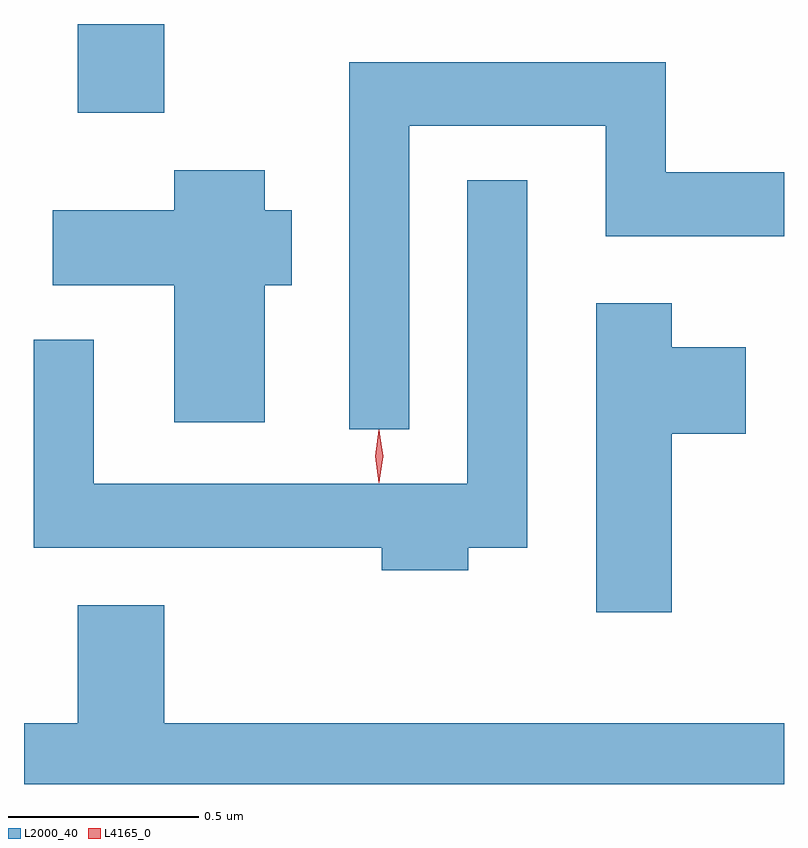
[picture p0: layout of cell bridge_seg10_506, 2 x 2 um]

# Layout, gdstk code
import gdstk
lib = gdstk.Library(unit=1e-6, precision=1e-09)
def R(c, l, rs):  # rectangles x0, y0, x1, y1
    for r in rs: c.add(gdstk.rectangle(r[:2], r[2:], *l))
def P(c, l, *ps):  # polygons
    for p in ps: c.add(gdstk.Polygon(p, *l))
L2000_40 = (2000, 40)
L4165_0 = (4165, 0)

bridge_seg10_506 = lib.new_cell('bridge_seg10_506')
R(bridge_seg10_506, L2000_40, [(871.051,2175.731,871.279,2175.964)])
P(bridge_seg10_506, L2000_40, [(871.924,2175.696),(872.441,2175.696),(872.441,2175.406),(872.91,2175.406),(872.91,2175.574),(872.599,2175.574),(872.599,2175.864),(871.766,2175.864),(871.766,2174.898),(871.924,2174.898)],
  [(871.544,2175.276),(871.614,2175.276),(871.614,2175.474),(871.544,2175.474),(871.544,2175.579),(871.306,2175.579),(871.306,2175.474),(870.986,2175.474),(870.986,2175.276),(871.306,2175.276),(871.306,2174.916),(871.544,2174.916)],
  [(872.079,2174.586),(872.234,2174.586),(872.234,2175.553),(872.076,2175.553),(872.076,2174.754),(871.094,2174.754),(871.094,2175.133),(870.936,2175.133),(870.936,2174.586),(871.851,2174.586),(871.851,2174.526),(872.079,2174.526)],
  [(872.614,2174.886),(872.809,2174.886),(872.809,2175.114),(872.614,2175.114),(872.614,2175.229),(872.416,2175.229),(872.416,2174.416),(872.614,2174.416)],
  [(872.91,2174.124),(871.279,2174.124),(871.279,2174.434),(871.051,2174.434),(871.051,2174.124),(870.91,2174.124),(870.91,2173.964),(872.91,2173.964)])
P(bridge_seg10_506, L4165_0, [(871.844,2174.757),(871.844,2174.757),(871.834,2174.826),(871.844,2174.896),(871.844,2174.896),(871.845,2174.896),(871.854,2174.826),(871.845,2174.757)],
  [(871.845,2174.759),(871.844,2174.76),(871.835,2174.826),(871.844,2174.892),(871.845,2174.893),(871.845,2174.892),(871.855,2174.826),(871.845,2174.76)])

lib.write_gds('bridge_seg10_506.gds')
